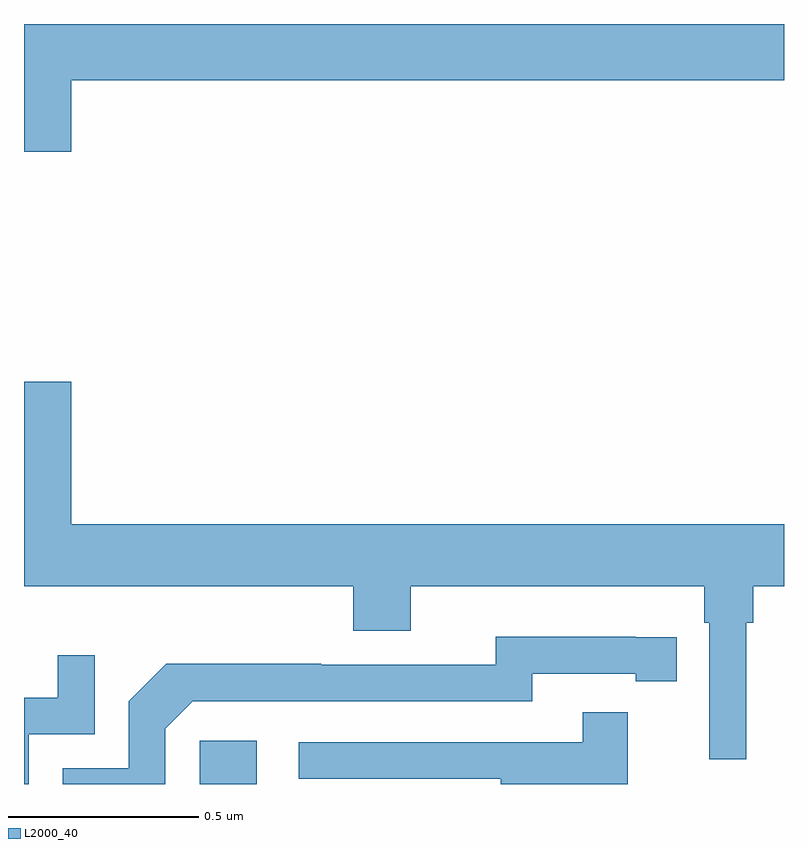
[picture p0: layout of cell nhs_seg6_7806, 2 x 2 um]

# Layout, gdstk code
import gdstk
lib = gdstk.Library(unit=1e-6, precision=1e-09)
def R(c, l, rs):  # rectangles x0, y0, x1, y1
    for r in rs: c.add(gdstk.rectangle(r[:2], r[2:], *l))
def P(c, l, *ps):  # polygons
    for p in ps: c.add(gdstk.Polygon(p, *l))
L2000_40 = (2000, 40)

nhs_seg6_7806 = lib.new_cell('nhs_seg6_7806')
R(nhs_seg6_7806, L2000_40, [(213.462,929.5,213.613,929.614)])
P(nhs_seg6_7806, L2000_40, [(213.124,931.352),(215,931.352),(215,931.5),(213,931.5),(213,931.164),(213.124,931.164)],
  [(214.9,929.924),(214.919,929.924),(214.919,930.02),(215,930.02),(215,930.184),(213.124,930.184),(213.124,930.559),(213,930.559),(213,930.02),(213.866,930.02),(213.866,929.903),(214.018,929.903),(214.018,930.02),(214.79,930.02),(214.79,929.924),(214.803,929.924),(214.803,929.565),(214.9,929.565)],
  [(213.372,929.646),(213.444,929.718),(214.338,929.718),(214.338,929.79),(214.61,929.79),(214.61,929.77),(214.718,929.77),(214.718,929.886),(214.61,929.886),(214.61,929.887),(214.242,929.887),(214.242,929.814),(213.782,929.814),(213.782,929.816),(213.374,929.816),(213.276,929.718),(213.276,929.541),(213.102,929.541),(213.102,929.5),(213.372,929.5)],
  [(213.012,929.631),(213.186,929.631),(213.186,929.839),(213.089,929.839),(213.089,929.727),(213,929.727),(213,929.5),(213.012,929.5)],
  [(214.589,929.689),(214.471,929.689),(214.471,929.61),(213.723,929.61),(213.723,929.514),(214.255,929.514),(214.255,929.5),(214.589,929.5)])

lib.write_gds('nhs_seg6_7806.gds')
